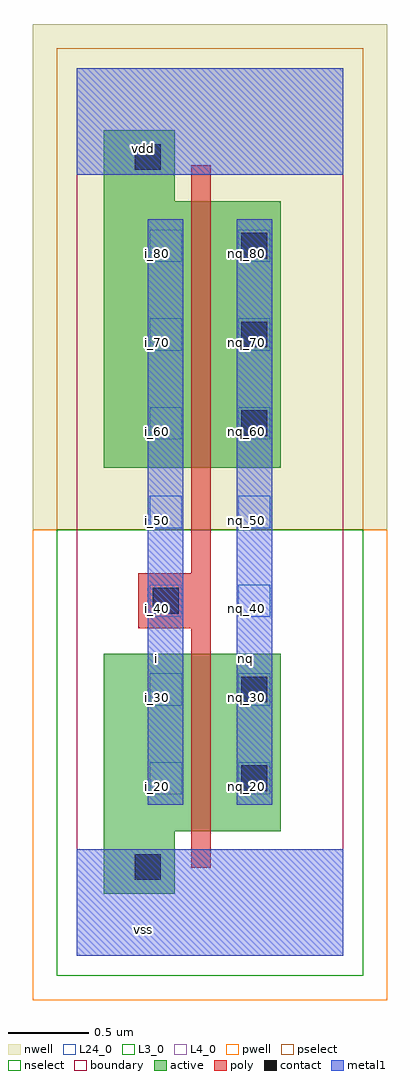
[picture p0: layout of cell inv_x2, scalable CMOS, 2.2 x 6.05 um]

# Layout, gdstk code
import gdstk
lib = gdstk.Library(unit=1e-6, precision=2.5e-09)
def R(c, l, rs):  # rectangles x0, y0, x1, y1
    for r in rs: c.add(gdstk.rectangle(r[:2], r[2:], *l))
def A(c, l, x, y, w, h, nx, ny, dx, dy):  # array of equal rectangles
    R(c, l, [(x+i*dx, y+j*dy, x+i*dx+w, y+j*dy+h) for i in range(nx) for j in range(ny)])
L3_0 = (3, 0)
L4_0 = (4, 0)
L24_0 = (24, 0)
contact = (25, 0)
pwell = (41, 0)
nwell = (42, 0)
active = (43, 0)
pselect = (44, 0)
nselect = (45, 0)
poly = (46, 0)
metal1 = (49, 0)
boundary = (63, 0)

inv_x2 = lib.new_cell('inv_x2')
R(inv_x2, L3_0, [(0.165,0.385,0.605,0.77), (0.165,0.77,1.265,1.87)])
R(inv_x2, L4_0, [(0.165,3.025,1.265,4.675), (0.165,4.675,0.605,5.115)])
A(inv_x2, L24_0, 0.45, 1, 0.2, 0.2, 1, 7, 0, 0.55)
A(inv_x2, L24_0, 1, 1, 0.2, 0.2, 1, 7, 0, 0.55)
A(inv_x2, contact, 1.02, 3.22, 0.16, 0.16, 1, 3, 0, 0.55)
R(inv_x2, contact, [(0.36,0.47,0.52,0.63), (1.02,1.02,1.18,1.18), (1.02,1.57,1.18,1.73), (0.47,2.12,0.63,2.28), (0.36,4.87,0.52,5.03)])
R(inv_x2, pwell, [(-0.275,-0.275,1.925,2.64)])
R(inv_x2, nwell, [(-0.275,2.64,1.925,5.775)])
R(inv_x2, active, [(0.165,0.385,0.605,0.77), (0.165,0.77,1.265,1.87), (0.165,3.025,1.265,4.675), (0.165,4.675,0.605,5.115)])
R(inv_x2, pselect, [(-0.125,2.64,1.775,5.625)])
R(inv_x2, nselect, [(-0.125,-0.125,1.775,2.64)])
R(inv_x2, poly, [(0.71,0.545,0.83,2.03), (0.38,2.03,0.83,2.37), (0.71,2.37,0.83,4.9)])
R(inv_x2, metal1, [(0,0,1.65,0.66), (0.44,0.935,0.66,4.565), (0.99,0.935,1.21,4.565), (0,4.84,1.65,5.5)])
R(inv_x2, boundary, [(0,0,1.65,5.5)])
inv_x2.add(gdstk.Label('vss', (0.4125,0.165), layer=49, texttype=0))
inv_x2.add(gdstk.Label('nq', (1.045,1.8425), layer=49, texttype=0))
inv_x2.add(gdstk.Label('i', (0.495,1.8425), layer=49, texttype=0))
inv_x2.add(gdstk.Label('vdd', (0.4125,5.005), layer=49, texttype=0))
inv_x2.add(gdstk.Label('nq_80', (1.05,4.35), layer=24, texttype=0))
inv_x2.add(gdstk.Label('nq_70', (1.05,3.8), layer=24, texttype=0))
inv_x2.add(gdstk.Label('nq_60', (1.05,3.25), layer=24, texttype=0))
inv_x2.add(gdstk.Label('nq_50', (1.05,2.7), layer=24, texttype=0))
inv_x2.add(gdstk.Label('nq_40', (1.05,2.15), layer=24, texttype=0))
inv_x2.add(gdstk.Label('nq_30', (1.05,1.6), layer=24, texttype=0))
inv_x2.add(gdstk.Label('nq_20', (1.05,1.05), layer=24, texttype=0))
inv_x2.add(gdstk.Label('i_20', (0.5,1.05), layer=24, texttype=0))
inv_x2.add(gdstk.Label('i_30', (0.5,1.6), layer=24, texttype=0))
inv_x2.add(gdstk.Label('i_40', (0.5,2.15), layer=24, texttype=0))
inv_x2.add(gdstk.Label('i_50', (0.5,2.7), layer=24, texttype=0))
inv_x2.add(gdstk.Label('i_60', (0.5,3.25), layer=24, texttype=0))
inv_x2.add(gdstk.Label('i_70', (0.5,3.8), layer=24, texttype=0))
inv_x2.add(gdstk.Label('i_80', (0.5,4.35), layer=24, texttype=0))

lib.write_gds('inv_x2.gds')
